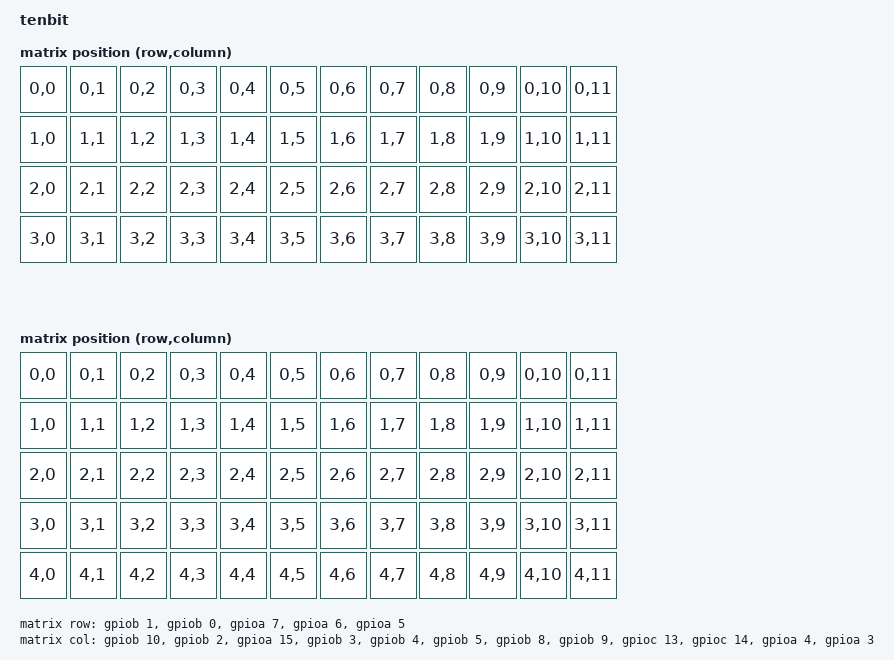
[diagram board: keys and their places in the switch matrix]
/*
 * Copyright (c) 2024 Pete Johanson
 *
 * SPDX-License-Identifier: MIT
 */

/dts-v1/;
#include <st/f4/stm32f411Xe.dtsi>
#include <st/f4/stm32f411c(c-e)ux-pinctrl.dtsi>

#include <zephyr/dt-bindings/dt-util.h>

#include <dt-bindings/zmk/matrix_transform.h>

#include <layouts/common/ortho_4x12/all1u.dtsi>
#include <layouts/common/ortho_5x12/all1u.dtsi>

&layouts_common_ortho_4x12_position_map { status = "disabled"; };

&layout_ortho_5x12_all1u {
	transform = <&transform_5x12>;
};

&layout_ortho_4x12_all1u {
	transform = <&transform_4x12>;
};

&layouts_common_ortho_5x12_position_map {
    layout_ortho_4x12_all1u {
        physical-layout = <&layout_ortho_4x12_all1u>;
        positions
            = <48 49 50 51 52 53 54 55 56 57 58 59>
            , < 0  1  2  3  4  5  6  7  8  9 10 11>
            , <12 13 14 15 16 17 18 19 20 21 22 23>
            , <24 25 26 27 28 29 30 31 32 33 34 35>
            , <36 37 38 39 40 41 42 43 44 45 46 47>
            ;
    };
};

/ {
	model = "tenbit";
	compatible = "fingerpunch,tenbit";

	chosen {
		zephyr,sram = &sram0;
		zephyr,flash = &flash0;
		zephyr,code-partition = &code_partition;
		zmk,kscan = &matrix;
		zmk,physical-layout = &layout_ortho_5x12_all1u;
	};
	
	transform_4x12: transform_4x12 {
		compatible = "zmk,matrix-transform";
		rows = <4>;
		columns = <12>;
		
		map = <
		RC(0,0) RC(0,1) RC(0,2) RC(0,3) RC(0,4) RC(0,5) RC(0,6) RC(0,7) RC(0,8) RC(0,9) RC(0,10) RC(0,11)
		RC(1,0) RC(1,1) RC(1,2) RC(1,3) RC(1,4) RC(1,5) RC(1,6) RC(1,7) RC(1,8) RC(1,9) RC(1,10) RC(1,11)
		RC(2,0) RC(2,1) RC(2,2) RC(2,3) RC(2,4) RC(2,5) RC(2,6) RC(2,7) RC(2,8) RC(2,9) RC(2,10) RC(2,11)
		RC(3,0) RC(3,1) RC(3,2) RC(3,3) RC(3,4) RC(3,5) RC(3,6) RC(3,7) RC(3,8) RC(3,9) RC(3,10) RC(3,11)
		>;
	};

	transform_5x12: transform_5x12 {
		compatible = "zmk,matrix-transform";
		rows = <5>;
		columns = <12>;
		
		map = <
		RC(0,0) RC(0,1) RC(0,2) RC(0,3) RC(0,4) RC(0,5) RC(0,6) RC(0,7) RC(0,8) RC(0,9) RC(0,10) RC(0,11)
		RC(1,0) RC(1,1) RC(1,2) RC(1,3) RC(1,4) RC(1,5) RC(1,6) RC(1,7) RC(1,8) RC(1,9) RC(1,10) RC(1,11)
		RC(2,0) RC(2,1) RC(2,2) RC(2,3) RC(2,4) RC(2,5) RC(2,6) RC(2,7) RC(2,8) RC(2,9) RC(2,10) RC(2,11)
		RC(3,0) RC(3,1) RC(3,2) RC(3,3) RC(3,4) RC(3,5) RC(3,6) RC(3,7) RC(3,8) RC(3,9) RC(3,10) RC(3,11)
		RC(4,0) RC(4,1) RC(4,2) RC(4,3) RC(4,4) RC(4,5) RC(4,6) RC(4,7) RC(4,8) RC(4,9) RC(4,10) RC(4,11)
		>;
	};
	
	matrix: matrix {
	    compatible = "zmk,kscan-gpio-matrix";
	    diode-direction = "col2row";
	    col-gpios
	        = <&gpiob 10 GPIO_ACTIVE_HIGH>
	        , <&gpiob 2 GPIO_ACTIVE_HIGH>
	        , <&gpioa 15 GPIO_ACTIVE_HIGH>
	        , <&gpiob 3 GPIO_ACTIVE_HIGH>
	        , <&gpiob 4 GPIO_ACTIVE_HIGH>
	        , <&gpiob 5 GPIO_ACTIVE_HIGH>
	        , <&gpiob 8 GPIO_ACTIVE_HIGH>
	        , <&gpiob 9 GPIO_ACTIVE_HIGH>
	        , <&gpioc 13 GPIO_ACTIVE_HIGH>
	        , <&gpioc 14 GPIO_ACTIVE_HIGH>
	        , <&gpioa 4 GPIO_ACTIVE_HIGH>
	        , <&gpioa 3 GPIO_ACTIVE_HIGH>
	    ;
	    row-gpios
	        = <&gpiob 1 (GPIO_ACTIVE_HIGH | GPIO_PULL_DOWN)>
	        , <&gpiob 0 (GPIO_ACTIVE_HIGH | GPIO_PULL_DOWN)>
	        , <&gpioa 7 (GPIO_ACTIVE_HIGH | GPIO_PULL_DOWN)>
	        , <&gpioa 6 (GPIO_ACTIVE_HIGH | GPIO_PULL_DOWN)>
	        , <&gpioa 5 (GPIO_ACTIVE_HIGH | GPIO_PULL_DOWN)>
	        ;
	};
};

&flash0 {
	partitions {
		compatible = "fixed-partitions";
		#address-cells = <1>;
		#size-cells = <1>;

		boot_partition: partition@0 {
			label = "tinyuf2";
			reg = <0x00000000 DT_SIZE_K(32)>;
		};

		/*
		 * Use third and fourth 16K sectors for storage
		 */

		storage_partition: partition@8000 {
			label = "storage";
			reg = <0x00008000 DT_SIZE_K(32)>;
		};

		code_partition: partition@10000 {
			label = "code";
			reg = <0x00010000 (DT_SIZE_K(512 - 32 - 32))>;
			read-only;
		};

	};
};

zephyr_udc0: &usbotg_fs {
	pinctrl-0 = <&usb_otg_fs_dm_pa11 &usb_otg_fs_dp_pa12>;
	pinctrl-names = "default";
	status = "okay";
};

&clk_lsi {
	status = "okay";
};

&clk_hse {
	clock-frequency = <DT_FREQ_M(8)>;
	status = "okay";
};

&pll {
	div-m = <8>;
	mul-n = <336>;
	div-p = <4>;
	div-q = <7>;
	clocks = <&clk_hse>;
	status = "okay";
};

&rcc {
	clocks = <&pll>;
	clock-frequency = <DT_FREQ_M(84)>;
	ahb-prescaler = <1>;
	apb1-prescaler = <2>;
	apb2-prescaler = <1>;
};
